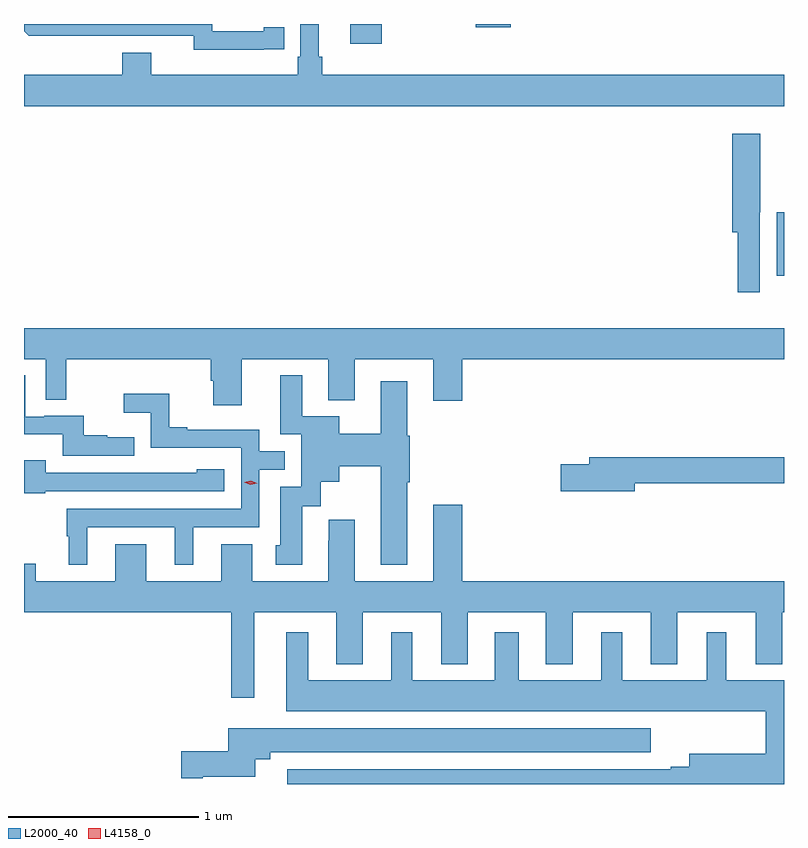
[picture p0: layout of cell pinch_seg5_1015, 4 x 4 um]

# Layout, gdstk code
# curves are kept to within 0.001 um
import gdstk
lib = gdstk.Library(unit=1e-6, precision=1e-09)
def R(c, l, rs):  # rectangles x0, y0, x1, y1
    for r in rs: c.add(gdstk.rectangle(r[:2], r[2:], *l))
def P(c, l, *ps):  # polygons
    for p in ps: c.add(gdstk.Polygon(p, *l))
L2000_40 = (2000, 40)
L4158_0 = (4158, 0)

pinch_seg5_1015 = lib.new_cell('pinch_seg5_1015')
R(pinch_seg5_1015, L2000_40, [(709.929,854.534,709.966,854.869), (707.684,855.756,707.848,855.86), (708.344,855.843,708.527,855.86)])
P(pinch_seg5_1015, L2000_40, [(707.228,855.726),(707.336,855.726),(707.336,855.842),(707.228,855.842),(707.228,855.822),(706.956,855.822),(706.956,855.86),(705.966,855.86),(705.966,855.823),(705.992,855.797),(706.86,855.798),(706.86,855.725)],
  [(709.966,855.592),(707.537,855.592),(707.537,855.688),(707.518,855.688),(707.518,855.86),(707.421,855.86),(707.421,855.688),(707.408,855.688),(707.408,855.592),(706.636,855.592),(706.636,855.709),(706.484,855.709),(706.484,855.592),(705.966,855.592),(705.966,855.428),(709.966,855.428)],
  [(709.839,854.869),(709.84,854.869),(709.84,855.283),(709.694,855.283),(709.694,854.765),(709.723,854.765),(709.723,854.448),(709.839,854.448)],
  [(707.113,854.096),(707.567,854.096),(707.567,853.88),(707.707,853.88),(707.707,854.096),(708.119,854.096),(708.119,853.878),(708.272,853.878),(708.272,854.096),(709.966,854.096),(709.966,854.26),(705.966,854.26),(705.966,854.096),(706.08,854.096),(706.08,853.882),(706.189,853.882),(706.189,854.096),(706.949,854.096),(706.949,853.983),(706.961,853.983),(706.961,853.854),(707.113,853.854)],
  [(707.983,853.448),(707.996,853.448),(707.996,853.692),(707.983,853.692),(707.983,853.981),(707.843,853.981),(707.843,853.704),(707.626,853.704),(707.626,853.795),(707.431,853.795),(707.431,854.011),(707.315,854.011),(707.315,853.701),(707.424,853.701),(707.424,853.425),(707.315,853.425),(707.315,853.116),(707.291,853.116),(707.291,853.014),(707.431,853.014),(707.431,853.322),(707.529,853.322),(707.529,853.451),(707.626,853.451),(707.626,853.532),(707.843,853.532),(707.843,853.013),(707.983,853.013)],
  [(706.547,853.684),(706.403,853.684),(706.403,853.696),(706.28,853.696),(706.28,853.797),(706.072,853.797),(706.072,853.794),(705.972,853.794),(705.972,854.011),(705.966,854.011),(705.966,853.7),(706.17,853.7),(706.17,853.587),(706.547,853.587)],
  [(706.3,853.212),(706.76,853.212),(706.76,853.013),(706.858,853.013),(706.858,853.212),(707.205,853.212),(707.205,853.515),(707.338,853.515),(707.338,853.611),(707.205,853.611),(707.205,853.725),(706.825,853.725),(706.825,853.738),(706.731,853.738),(706.731,853.913),(706.491,853.913),(706.491,853.814),(706.632,853.814),(706.632,853.629),(707.109,853.629),(707.109,853.308),(706.191,853.308),(706.191,853.164),(706.202,853.164),(706.202,853.013),(706.3,853.013)],
  [(709.18,853.444),(709.966,853.444),(709.966,853.58),(708.941,853.58),(708.941,853.544),(708.792,853.544),(708.792,853.402),(709.18,853.402)],
  [(706.077,853.401),(707.02,853.401),(707.02,853.516),(706.875,853.516),(706.875,853.498),(706.639,853.498),(706.639,853.497),(706.081,853.497),(706.081,853.564),(705.966,853.564),(705.966,853.389),(706.077,853.389)],
  [(707.179,852.764),(707.609,852.764),(707.609,852.491),(707.749,852.491),(707.749,852.764),(708.161,852.764),(708.161,852.491),(708.301,852.491),(708.301,852.764),(708.713,852.764),(708.713,852.491),(708.853,852.491),(708.853,852.764),(709.265,852.764),(709.265,852.491),(709.405,852.491),(709.405,852.764),(709.817,852.764),(709.817,852.491),(709.957,852.491),(709.957,852.764),(709.966,852.764),(709.966,852.928),(708.272,852.928),(708.272,853.33),(708.119,853.33),(708.119,852.928),(707.707,852.928),(707.707,853.252),(707.57,853.252),(707.57,853.139),(707.567,853.139),(707.567,852.928),(707.167,852.928),(707.167,853.123),(707.003,853.123),(707.003,852.928),(706.609,852.928),(706.609,853.123),(706.445,853.123),(706.445,852.928),(706.027,852.928),(706.027,853.019),(705.966,853.019),(705.966,852.764),(707.058,852.764),(707.058,852.315),(707.179,852.315)],
  [(709.966,852.406),(709.663,852.406),(709.663,852.658),(709.559,852.658),(709.559,852.406),(709.114,852.406),(709.114,852.658),(709.004,852.658),(709.004,852.406),(708.571,852.406),(708.571,852.658),(708.443,852.658),(708.443,852.406),(708.01,852.406),(708.01,852.658),(707.9,852.658),(707.9,852.406),(707.461,852.406),(707.461,852.658),(707.345,852.658),(707.345,852.242),(709.871,852.242),(709.871,852.019),(709.466,852.019),(709.466,851.95),(709.37,851.95),(709.37,851.937),(707.351,851.937),(707.351,851.86),(709.966,851.86)],
  [(706.906,851.897),(707.182,851.897),(707.182,851.99),(707.263,851.99),(707.263,852.026),(709.264,852.026),(709.264,852.154),(707.042,852.154),(707.042,852.032),(706.794,852.032),(706.794,851.89),(706.906,851.89)])
P(pinch_seg5_1015, L4158_0, [(707.158,853.435),(707.125,853.447),(707.124,853.448),(707.125,853.448),(707.16,853.455),(707.193,853.443),(707.194,853.443),(707.193,853.443)])

lib.write_gds('pinch_seg5_1015.gds')
